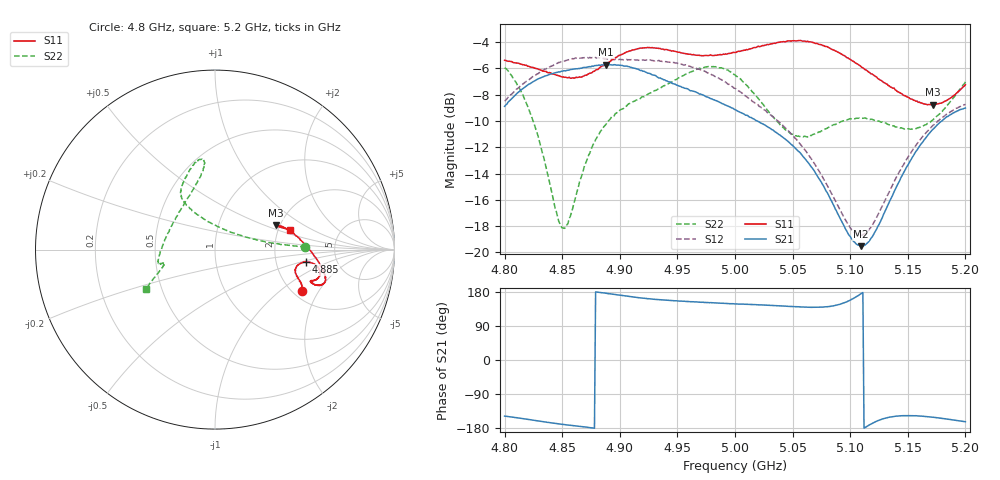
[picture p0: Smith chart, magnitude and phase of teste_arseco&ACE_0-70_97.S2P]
! Network Analyzer HP8722D
! Hewlett-Packard
! Data name: Linha & Wilkinson
! Saver's name: Rodrigo Anjos
! Comments: Teste da utilização de aquisição
! continua pelo VNA HP8722D
! Time and date: 8/5/2025 13:34
!  Frequency  S11  S21  S12  S22
# HZ  S  MA R 50
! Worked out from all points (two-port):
!   401 points, 4.8 GHz to 5.2 GHz, reference 50 ohm
!   highest |S21| = -5.71 dB at 4.888 GHz (marker M1); lowest = -19.5 dB at 5.109 GHz (marker M2)
!   |S21| within 3 dB of the highest: 4.802 GHz to 4.99 GHz (188 MHz wide, 3.84 % of centre)
!   lowest |S11| = -8.8 dB at 5.172 GHz (marker M3), VSWR 2.15, Z = 95.2 + j29.6 ohm
!   |S11| at or under -10 dB: nowhere
!   |S22| runs from -18.2 to -5.8 dB; largest |S21 - S12| = 1.1
!   S11 on the Smith chart (normalised r, x): 4.8 GHz: 2.23, -1.46; 4.885 GHz: 2.98, -0.56; 5.2 GHz: 2.33, +0.63
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4.8e9  0.5381 -25.5  0.3596 -148.1  0.3767 11.3  0.5039 1.8
4.814e9  0.5208 -22.2  0.4141 -153.8  0.4311 9.1  0.4113 3.3
4.824e9  0.5056 -20.4  0.444 -158.4  0.4648 7.7  0.3224 6.4
4.849e9  0.4671 -16.3  0.4885 -169.5  0.5312 4.0  0.1256 56.3
4.855e9  0.4616 -14.3  0.4934 -171.6  0.5403 2.9  0.1288 83.9
4.867e9  0.4644 -11.2  0.5019 -175.8  0.5486 1.2  0.1963 113.1
4.885e9  0.5126 -7.8  0.5167 177.6  0.5478 -0.1  0.295 122.7
4.888e9  0.5234 -7.7  0.5182 176.1  0.5465 -0.3  0.307 123.1
4.91e9  0.5858 -10.1  0.5055 167.1  0.5412 0.0  0.3703 121.3
4.934e9  0.5966 -15.5  0.4603 159.1  0.5376 -0.9  0.4188 114.1
4.976e9  0.561 -18.4  0.3903 151.6  0.4821 -4.6  0.5084 100.0
5e9  0.576 -19.1  0.3495 148.0  0.4209 -4.9  0.474 97.6
5.018e9  0.6014 -19.0  0.3179 146.1  0.3697 -1.9  0.3955 103.9
5.045e9  0.6356 -17.2  0.2668 141.7  0.2935 3.6  0.2903 132.9
5.067e9  0.6297 -13.4  0.2097 139.1  0.2247 9.7  0.2801 164.4
5.099e9  0.5455 -2.6  0.1163 156.3  0.1264 37.7  0.3215 -169.9
5.109e9  0.5112 2.2  0.1057 174.2  0.1162 57.2  0.324 -167.0
5.118e9  0.4779 6.4  0.1132 -169.1  0.1246 75.2  0.3217 -165.7
5.134e9  0.4294 14.1  0.1558 -150.9  0.1703 94.7  0.3056 -165.5
5.155e9  0.3792 20.8  0.2339 -147.1  0.2482 102.2  0.2952 -164.0
5.172e9  0.3644 21.7  0.2943 -151.2  0.3047 103.3  0.3202 -160.0
5.2e9  0.4346 14.7  0.3542 -162.9  0.366 103.6  0.4453 -150.3
